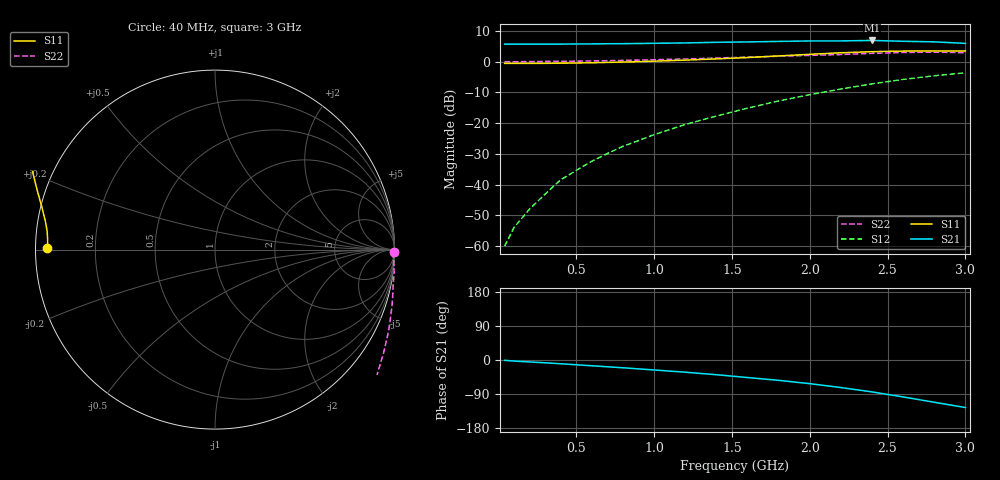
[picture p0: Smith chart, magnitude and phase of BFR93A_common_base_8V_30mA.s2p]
! Filename:  BFR93ACH.S2P  Version:  2.0
! Philips part #: BFR93A  Date: Jul 1990
! Bias condition: Vce=8V, Ic=30mA
! COMMON BASE
#  MHz  S  MA  R  50
! Freq  S11  S21  S12  S22
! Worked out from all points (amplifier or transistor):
!   21 points, 40 MHz to 3 GHz, reference 50 ohm
!   highest |S21| = 6.9 dB at 2.4 GHz (marker M1)
!   |S21| within 3 dB of that: start of sweep to end of sweep
!   unconditionally stable (mu >= 1): nowhere
!   at 300 MHz: K = -0.60, MSG = 24.4 dB, |S12| = -43.1 dB
!   at 1 GHz: K = -0.93, MSG = 14.8 dB, |S12| = -23.7 dB
!   at 3 GHz: K = -0.85, MSG = 4.8 dB, |S12| = -3.6 dB
40  0.934 179.4  1.919 -0.9  0.001 51.8  0.995 -0.8
100  0.933 178.2  1.918 -2.8  0.002 80.8  0.994 -2.6
200  0.934 176.7  1.922 -5.1  0.004 105.9  0.999 -4.7
300  0.937 175.2  1.92 -7.4  0.007 121.6  1.006 -7.1
400  0.941 173.7  1.921 -9.9  0.012 130.8  1.009 -9.7
500  0.948 172.3  1.932 -12.6  0.017 135.5  1.015 -12.2
600  0.957 170.7  1.938 -15.2  0.024 140.0  1.024 -14.8
700  0.969 169.1  1.949 -17.9  0.032 141.4  1.034 -17.4
800  0.982 167.5  1.955 -20.5  0.042 143.2  1.044 -20.1
900  0.997 165.8  1.966 -23.4  0.052 143.8  1.056 -22.7
1000  1.015 164.1  1.982 -26.3  0.065 143.9  1.07 -25.5
1200  1.056 160.6  2.009 -32.2  0.095 143.0  1.101 -31.4
1400  1.106 156.8  2.057 -38.8  0.13 140.5  1.141 -37.7
1600  1.162 152.6  2.087 -46.3  0.175 138.1  1.182 -44.5
1800  1.235 147.7  2.126 -53.7  0.229 133.8  1.22 -52.1
2000  1.312 142.4  2.164 -62.4  0.29 128.7  1.26 -60.7
2200  1.39 136.8  2.167 -72.7  0.358 122.8  1.302 -71.1
2400  1.449 129.9  2.204 -84.2  0.434 115.4  1.36 -82.3
2600  1.481 122.0  2.137 -97.5  0.513 107.4  1.406 -93.6
2800  1.486 112.3  2.092 -111.5  0.588 98.4  1.422 -105.2
3000  1.489 102.6  1.976 -125.5  0.657 90.4  1.395 -116.8
